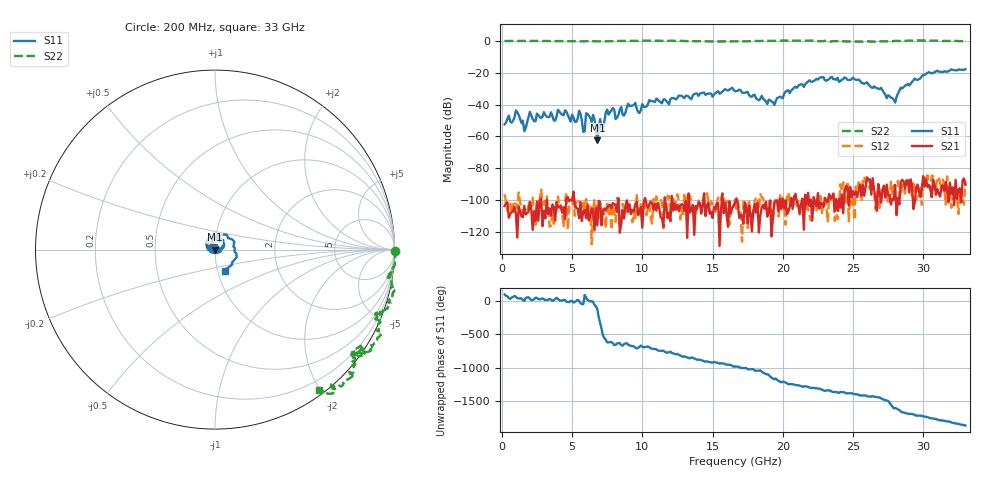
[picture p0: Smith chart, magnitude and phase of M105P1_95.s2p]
# GHZ S RI R 50
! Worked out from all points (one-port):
!   329 points, 200 MHz to 33 GHz, reference 50 ohm
!   lowest |S11| = -62.6 dB at 6.8 GHz (marker M1), VSWR 1.00, Z = 50 - j0.0631 ohm
!   |S11| at or under -10 dB: start of sweep to end of sweep
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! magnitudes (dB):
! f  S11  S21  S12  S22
! 200 MHz  -52.4  -103.9  -96.5  0.0
! 1 GHz  -43.7  -108.4  -100.8  0.1
! 1.6 GHz  -56.8  -103.7  -105.4  0.0
! 2 GHz  -44.5  -101.4  -100.5  0.1
! 5.7 GHz  -50.1  -113.4  -104.6  -0.2
! 5.9 GHz  -56.8  -106.4  -106.1  -0.2
! 6 GHz  -45.5  -111.5  -99.4  -0.1
! 6.5 GHz  -46.5  -106.1  -106.3  -0.1
! 6.8 GHz  -62.6  -116.1  -104.3  -0.2
! 7 GHz  -49.2  -101.4  -102.7  -0.1
! 7.2 GHz  -57.1  -107.3  -106.1  -0.2
! 7.5 GHz  -43.2  -104.7  -101.0  -0.2
! 8.1 GHz  -49.2  -103.7  -113.8  0.0
! 9 GHz  -39.5  -107.5  -102.0  0.0
! 9.8 GHz  -45.4  -108.7  -108.1  0.1
! 11.2 GHz  -37.8  -105.1  -101.8  0.2
! 16.6 GHz  -31.6  -102.1  -99.9  -0.2
! 19.4 GHz  -40.3  -101.7  -101.8  0.1
! 22.1 GHz  -25.7  -113.0  -106.0  0.2
! 25 GHz  -23.0  -94.5  -98.7  -0.4
! 27.6 GHz  -34.7  -97.1  -100.6  -0.1
! 33 GHz  -17.7  -90.5  -88.4  -0.2
